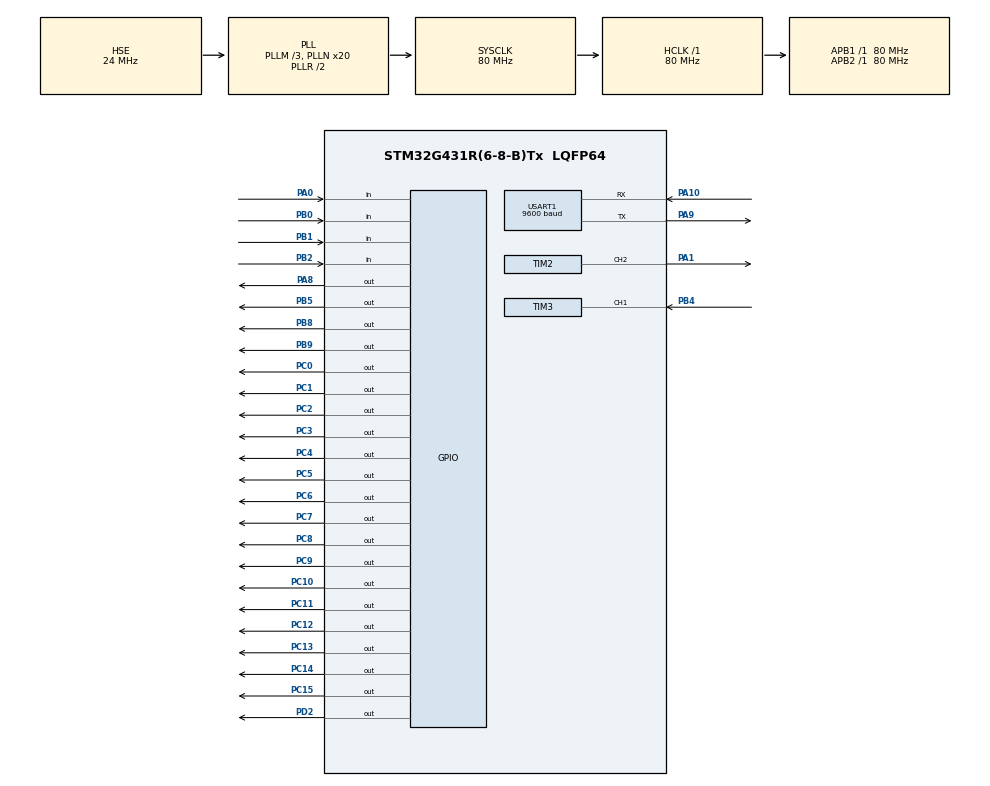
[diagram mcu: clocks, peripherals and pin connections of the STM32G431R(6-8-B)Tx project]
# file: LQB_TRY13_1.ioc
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Mcu.Family=STM32G4
Mcu.Name=STM32G431R(6-8-B)Tx
Mcu.Package=LQFP64
NVIC.PriorityGroup=NVIC_PRIORITYGROUP_4
NVIC.TIM3_IRQn=true\:0\:0\:false\:false\:true\:true\:true
NVIC.TIM6_DAC_IRQn=true\:0\:0\:false\:false\:true\:true\:true
NVIC.USART1_IRQn=true\:0\:0\:false\:false\:true\:true\:true
PA0.GPIO_Mode=GPIO_MODE_INPUT
PA0.GPIO_PuPd=GPIO_PULLUP
PA0.Signal=GPIO_Input
PA1.Signal=S_TIM2_CH2
PA10.Mode=Asynchronous
PA10.Signal=USART1_RX
PA13.Mode=Serial_Wire
PA13.Signal=SYS_JTMS-SWDIO
PA14.Mode=Serial_Wire
PA14.Signal=SYS_JTCK-SWCLK
PA8.Signal=GPIO_Output
PA9.Mode=Asynchronous
PA9.Signal=USART1_TX
PB0.GPIO_Mode=GPIO_MODE_INPUT
PB0.GPIO_PuPd=GPIO_PULLUP
PB0.Signal=GPIO_Input
PB1.GPIO_Mode=GPIO_MODE_INPUT
PB1.GPIO_PuPd=GPIO_PULLUP
PB1.Signal=GPIO_Input
PB2.GPIO_Mode=GPIO_MODE_INPUT
PB2.GPIO_PuPd=GPIO_PULLUP
PB2.Signal=GPIO_Input
PB4.Signal=S_TIM3_CH1
PB5.Signal=GPIO_Output
PB8-BOOT0.Signal=GPIO_Output
PB9.Signal=GPIO_Output
PC0.Signal=GPIO_Output
PC1.Signal=GPIO_Output
PC10.Signal=GPIO_Output
PC11.Signal=GPIO_Output
PC12.Signal=GPIO_Output
PC13.Signal=GPIO_Output
PC14-OSC32_IN.Signal=GPIO_Output
PC15-OSC32_OUT.Signal=GPIO_Output
PC2.Signal=GPIO_Output
PC3.Signal=GPIO_Output
PC4.Signal=GPIO_Output
PC5.Signal=GPIO_Output
PC6.Signal=GPIO_Output
PC7.Signal=GPIO_Output
PC8.Signal=GPIO_Output
PC9.Signal=GPIO_Output
PD2.Signal=GPIO_Output
PF0-OSC_IN.Mode=HSE-External-Oscillator
PF0-OSC_IN.Signal=RCC_OSC_IN
PF1-OSC_OUT.Mode=HSE-External-Oscillator
PF1-OSC_OUT.Signal=RCC_OSC_OUT
ProjectManager.HeapSize=0x200
ProjectManager.StackSize=0x400
ProjectManager.TargetToolchain=MDK-ARM V5
RCC.ADC12Freq_Value=80000000
RCC.AHBFreq_Value=80000000
RCC.APB1Freq_Value=80000000
RCC.APB1TimFreq_Value=80000000
RCC.APB2Freq_Value=80000000
RCC.APB2TimFreq_Value=80000000
RCC.CortexFreq_Value=80000000
RCC.EXTERNAL_CLOCK_VALUE=12288000
RCC.HCLKFreq_Value=80000000
RCC.HSE_VALUE=24000000
RCC.HSI48_VALUE=48000000
RCC.HSI_VALUE=16000000
RCC.LSE_VALUE=32768
RCC.PLLM=RCC_PLLM_DIV3
RCC.PLLN=20
RCC.PLLSourceVirtual=RCC_PLLSOURCE_HSE
RCC.SYSCLKFreq_VALUE=80000000
RCC.SYSCLKSource=RCC_SYSCLKSOURCE_PLLCLK
RCC.USBFreq_Value=80000000
RCC.VCOOutputFreq_Value=160000000
SH.S_TIM2_CH2.0=TIM2_CH2,PWM Generation2 CH2
SH.S_TIM3_CH1.0=TIM3_CH1,Input_Capture1_from_TI1
SH.S_TIM3_CH1.1=TIM3_CH1,Input_Capture2_from_TI1
TIM2.Channel-PWM\ Generation2\ CH2=TIM_CHANNEL_2
TIM2.PeriodNoDither=1000-1
TIM2.Prescaler=80-1
TIM2.PulseNoDither_2=50
TIM3.Channel-Input_Capture1_from_TI1=TIM_CHANNEL_1
TIM3.Channel-Input_Capture2_from_TI1=TIM_CHANNEL_2
TIM3.ICPolarity_CH2=TIM_INPUTCHANNELPOLARITY_FALLING
TIM3.PeriodNoDither=0xffff
TIM3.Prescaler=80-1
TIM6.PeriodNoDither=1000-1
TIM6.Prescaler=800-1
USART1.BaudRate=9600
USART1.VirtualMode-Asynchronous=VM_ASYNC
USART1.WordLength=WORDLENGTH_8B
VP_SYS_VS_DBSignals.Mode=DisableDeadBatterySignals
VP_TIM2_VS_ClockSourceINT.Mode=Internal
VP_TIM6_VS_ClockSourceINT.Mode=Enable_Timer
board=custom

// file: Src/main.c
/* USER CODE BEGIN Header */
/**
  ******************************************************************************
  * @file           : main.c
  * @brief          : Main program body
  ******************************************************************************
  * @attention
  *
  * <h2><center>&copy; Copyright (c) 2023 STMicroelectronics.
  * All rights reserved.</center></h2>
  *
  * This software component is licensed by ST under BSD 3-Clause license,
  * the "License"; You may not use this file except in compliance with the
  * License. You may obtain a copy of the License at:
  *                        opensource.org/licenses/BSD-3-Clause
  *
  ******************************************************************************
  */
/* USER CODE END Header */

#include "main.h"
#include "tim.h"
#include "usart.h"
#include "gpio.h"

/* USER CODE BEGIN Includes */
#include "lcd.h"
#include "mint.h"
#include "stdio.h"

/* USER CODE END Includes */

/* USER CODE BEGIN PV */
extern struct keys key[4];
bool page=0;
int S_KEY[3] = {-1,-1,-1},R_KEY[3] = {1,2,3};
bool judge_flag=0,key_judge=0;
uint8_t error_times=0,error_timesy=0;
int s_time=0,e_time=0,frq=1000,duty=50;
char text[30];

extern unsigned char rxdat;
extern char rxdata[8];
extern int rxp;

extern int frq_r;
extern double duty_r;
/* USER CODE END PV */

void SystemClock_Config(void);
/* USER CODE BEGIN PFP */
void KEY_Proc(void);
void LCD_Proc(void);

/* USER CODE END PFP */

int main(void)
{

  /* MCU Configuration--------------------------------------------------------*/

  /* Reset of all peripherals, Initializes the Flash interface and the Systick. */
  HAL_Init();

  /* Configure the system clock */
  SystemClock_Config();

  /* Initialize all configured peripherals */
  MX_GPIO_Init();
  MX_TIM2_Init();
  MX_TIM3_Init();
  MX_USART1_UART_Init();
  MX_TIM6_Init();
  /* USER CODE BEGIN 2 */
	HAL_TIM_Base_Start_IT(&htim6);
	HAL_TIM_PWM_Start(&htim2,TIM_CHANNEL_2);

	__HAL_TIM_SET_AUTORELOAD(&htim2, 1000);
	__HAL_TIM_SetCompare(&htim2,TIM_CHANNEL_2,500);

	HAL_TIM_IC_Start_IT(&htim3,TIM_CHANNEL_1);
	HAL_TIM_IC_Start_IT(&htim3,TIM_CHANNEL_2);

	HAL_UART_Receive_IT(&huart1,&rxdat,1);

	LCD_Init();
	LCD_Clear(Black);
	LCD_SetBackColor(Black);
	LCD_SetTextColor(White);

	LED_Proc(0x00);

  /* USER CODE END 2 */

  /* Infinite loop */
  /* USER CODE BEGIN WHILE */
  while (1)
  {
		LCD_Proc();
		KEY_Proc();
		usart_proc();
    /* USER CODE END WHILE */

  }
}

void SystemClock_Config(void)
{
  RCC_OscInitTypeDef RCC_OscInitStruct = {0};
  RCC_ClkInitTypeDef RCC_ClkInitStruct = {0};
  RCC_PeriphCLKInitTypeDef PeriphClkInit = {0};

  /** Configure the main internal regulator output voltage
  */
  HAL_PWREx_ControlVoltageScaling(PWR_REGULATOR_VOLTAGE_SCALE1);
  /** Initializes the CPU, AHB and APB busses clocks
  */
  RCC_OscInitStruct.OscillatorType = RCC_OSCILLATORTYPE_HSE;
  RCC_OscInitStruct.HSEState = RCC_HSE_ON;
  RCC_OscInitStruct.PLL.PLLState = RCC_PLL_ON;
  RCC_OscInitStruct.PLL.PLLSource = RCC_PLLSOURCE_HSE;
  RCC_OscInitStruct.PLL.PLLM = RCC_PLLM_DIV3;
  RCC_OscInitStruct.PLL.PLLN = 20;
  RCC_OscInitStruct.PLL.PLLP = RCC_PLLP_DIV2;
  RCC_OscInitStruct.PLL.PLLQ = RCC_PLLQ_DIV2;
  RCC_OscInitStruct.PLL.PLLR = RCC_PLLR_DIV2;
  if (HAL_RCC_OscConfig(&RCC_OscInitStruct) != HAL_OK)
  {
    Error_Handler();
  }
  /** Initializes the CPU, AHB and APB busses clocks
  */
  RCC_ClkInitStruct.ClockType = RCC_CLOCKTYPE_HCLK|RCC_CLOCKTYPE_SYSCLK
                              |RCC_CLOCKTYPE_PCLK1|RCC_CLOCKTYPE_PCLK2;
  RCC_ClkInitStruct.SYSCLKSource = RCC_SYSCLKSOURCE_PLLCLK;
  RCC_ClkInitStruct.AHBCLKDivider = RCC_SYSCLK_DIV1;
  RCC_ClkInitStruct.APB1CLKDivider = RCC_HCLK_DIV1;
  RCC_ClkInitStruct.APB2CLKDivider = RCC_HCLK_DIV1;

  if (HAL_RCC_ClockConfig(&RCC_ClkInitStruct, FLASH_LATENCY_3) != HAL_OK)
  {
    Error_Handler();
  }
  /** Initializes the peripherals clocks
  */
  PeriphClkInit.PeriphClockSelection = RCC_PERIPHCLK_USART1;
  PeriphClkInit.Usart1ClockSelection = RCC_USART1CLKSOURCE_PCLK2;
  if (HAL_RCCEx_PeriphCLKConfig(&PeriphClkInit) != HAL_OK)
  {
    Error_Handler();
  }
}

/* USER CODE BEGIN 4 */
void KEY_Proc(void)
{
	if(key[0].single_sta == 1)
	{
		if(page == 0) S_KEY[0] = (S_KEY[0] < 9)?(S_KEY[0]+1):0;
		key[0].single_sta = 0;
	}
	if(key[1].single_sta == 1)
	{
		if(page == 0) S_KEY[1] = (S_KEY[1] < 9)?(S_KEY[1]+1):0;
		key[1].single_sta = 0;
	}
	if(key[2].single_sta == 1)
	{
		if(page == 0) S_KEY[2] = (S_KEY[2] < 9)?(S_KEY[2]+1):0;
		key[2].single_sta = 0;
	}
	if(key[3].single_sta == 1)
	{
		judge_flag = 0;
		for(int i=0;i<3;i++) if(S_KEY[i] != R_KEY[i]) judge_flag = 1;
		if(judge_flag == 0)
		{
			page = 1;
			s_time = 0;
		}
		else
		{
			for(int i=0;i<3;i++) S_KEY[i] = -1;
			error_times++;
		}
		key[3].single_sta = 0;
	}
}

void LCD_Proc(void)
{
	if(page == 0)
	{
		LCD_DisplayStringLine(Line1,(unsigned char *)"       PSD          ");

		if(S_KEY[0] >= 0) sprintf(text,"    B1:%d            ",S_KEY[0]);
		else sprintf(text,"    B1:@            ");
		LCD_DisplayStringLine(Line3,(unsigned char *)text);

		if(S_KEY[1] >= 0) sprintf(text,"    B2:%d            ",S_KEY[1]);
		else sprintf(text,"    B2:@            ");
		LCD_DisplayStringLine(Line4,(unsigned char *)text);

		if(S_KEY[2] >= 0) sprintf(text,"    B3:%d            ",S_KEY[2]);
		else sprintf(text,"    B3:@            ");
		LCD_DisplayStringLine(Line5,(unsigned char *)text);

//		sprintf(text,"  D:%.2f%%  R:%d   ",duty_r,frq_r);
//		LCD_DisplayStringLine(Line7,(unsigned char *)text);
	}
	else if(page == 1)
	{
		LED_Proc(0x01);
		frq = 2000;
		duty = 10;
		error_times = 0;
		error_timesy = 0;
//		__HAL_TIM_SET_AUTORELOAD(&htim2, 500-1);
		htim2.Init.Period = 499;
			HAL_TIM_Base_Init(&htim2);//频率设为1000Hz
		__HAL_TIM_SetCompare(&htim2,TIM_CHANNEL_2,50);

		LCD_DisplayStringLine(Line1,(unsigned char *)"       STA          ");
		sprintf(text,"    F:%dHz        ",frq);
		LCD_DisplayStringLine(Line3,(unsigned char *)text);

		sprintf(text,"    D:%d%%           ",duty);
		LCD_DisplayStringLine(Line4,(unsigned char *)text);

		LCD_DisplayStringLine(Line5,(unsigned char *)"                    ");

//		sprintf(text,"  D:%.2f%%  R:%d   ",duty_r,frq_r);
//		LCD_DisplayStringLine(Line7,(unsigned char *)text);
		if(s_time >= 500)
		{
			LED_Proc(0x00);
			frq = 1000;
			duty = 50;
//			__HAL_TIM_SET_AUTORELOAD(&htim2, 1000-1);
			htim2.Init.Period = 999;
			HAL_TIM_Base_Init(&htim2);//频率设为1000Hz
			__HAL_TIM_SetCompare(&htim2,TIM_CHANNEL_2,500);
			s_time = 0;
			page = 0;
			for(int i=0;i<3;i++) S_KEY[i] = -1;
		}

	}
	else page = 0;
}

void usart_proc(void)
{
	if(rxp == 7 && rxdata[3] == '-')
	{
		key_judge = 0;
		for(int i=0;i<3;i++) if(rxdata[i] != R_KEY[i] + 0x30) key_judge = 1;
		if(key_judge == 0) for(int i=0;i<3;i++) R_KEY[i] = rxdata[i+4] - 0x30;
		for(int i=0;i<rxp;i++) rxdata[i] = 0;
		rxp = 0;
	}
}

void LED_Proc(unsigned char pin)
{
	HAL_GPIO_WritePin(GPIOC,GPIO_PIN_All,GPIO_PIN_SET);
	HAL_GPIO_WritePin(GPIOC,pin << 8,GPIO_PIN_RESET);
	HAL_GPIO_WritePin(GPIOD,GPIO_PIN_2,GPIO_PIN_SET);
	HAL_GPIO_WritePin(GPIOD,GPIO_PIN_2,GPIO_PIN_RESET);
}
/* USER CODE END 4 */

void Error_Handler(void)
{
}

/************************ (C) COPYRIGHT STMicroelectronics *****END OF FILE****/
